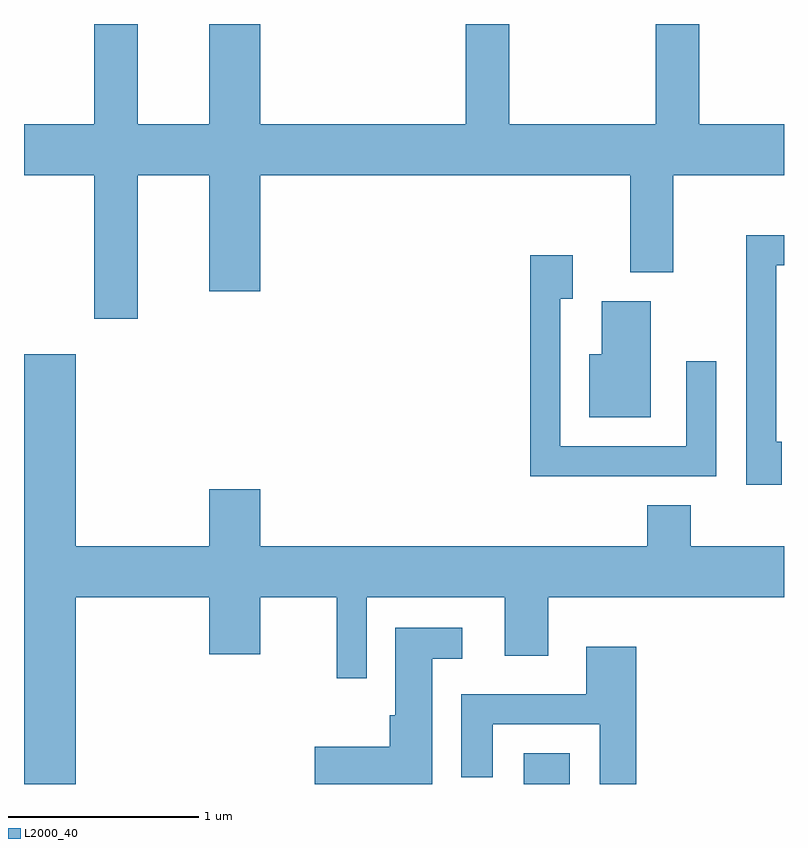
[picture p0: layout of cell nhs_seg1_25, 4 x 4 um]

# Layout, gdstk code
import gdstk
lib = gdstk.Library(unit=1e-6, precision=1e-09)
def R(c, l, rs):  # rectangles x0, y0, x1, y1
    for r in rs: c.add(gdstk.rectangle(r[:2], r[2:], *l))
def P(c, l, *ps):  # polygons
    for p in ps: c.add(gdstk.Polygon(p, *l))
L2000_40 = (2000, 40)

nhs_seg1_25 = lib.new_cell('nhs_seg1_25')
R(nhs_seg1_25, L2000_40, [(188.241,889.712,188.484,889.874)])
P(nhs_seg1_25, L2000_40, [(186.209,892.916),(186.586,892.916),(186.586,892.306),(186.854,892.306),(186.854,892.916),(188.801,892.916),(188.801,892.406),(189.029,892.406),(189.029,892.916),(189.611,892.916),(189.611,893.184),(189.164,893.184),(189.164,893.712),(188.936,893.712),(188.936,893.184),(188.164,893.184),(188.164,893.712),(187.936,893.712),(187.936,893.184),(186.854,893.184),(186.854,893.712),(186.586,893.712),(186.586,893.184),(186.209,893.184),(186.209,893.712),(185.981,893.712),(185.981,893.184),(185.611,893.184),(185.611,892.916),(185.981,892.916),(185.981,892.161),(186.209,892.161)],
  [(189.599,891.514),(189.569,891.514),(189.569,892.441),(189.611,892.441),(189.611,892.599),(189.411,892.599),(189.411,891.286),(189.599,891.286)],
  [(189.254,891.938),(189.096,891.938),(189.096,891.489),(188.434,891.489),(188.434,892.266),(188.499,892.266),(188.499,892.494),(188.276,892.494),(188.276,891.331),(189.254,891.331)],
  [(188.909,892.254),(188.651,892.254),(188.651,891.974),(188.586,891.974),(188.586,891.641),(188.909,891.641)],
  [(185.884,890.696),(186.586,890.696),(186.586,890.396),(186.854,890.396),(186.854,890.696),(187.256,890.696),(187.256,890.268),(187.414,890.268),(187.414,890.696),(188.141,890.696),(188.141,890.386),(188.369,890.386),(188.369,890.696),(189.611,890.696),(189.611,890.964),(189.119,890.964),(189.119,891.179),(188.891,891.179),(188.891,890.964),(186.854,890.964),(186.854,891.264),(186.586,891.264),(186.586,890.964),(185.884,890.964),(185.884,891.974),(185.611,891.974),(185.611,889.712),(185.884,889.712)],
  [(187.759,890.371),(187.918,890.371),(187.918,890.534),(187.566,890.534),(187.566,890.074),(187.536,890.074),(187.536,889.909),(187.141,889.909),(187.141,889.712),(187.759,889.712)],
  [(188.834,890.434),(188.571,890.434),(188.571,890.184),(187.911,890.184),(187.911,889.748),(188.079,889.748),(188.079,890.026),(188.641,890.026),(188.641,889.712),(188.834,889.712)])

lib.write_gds('nhs_seg1_25.gds')
